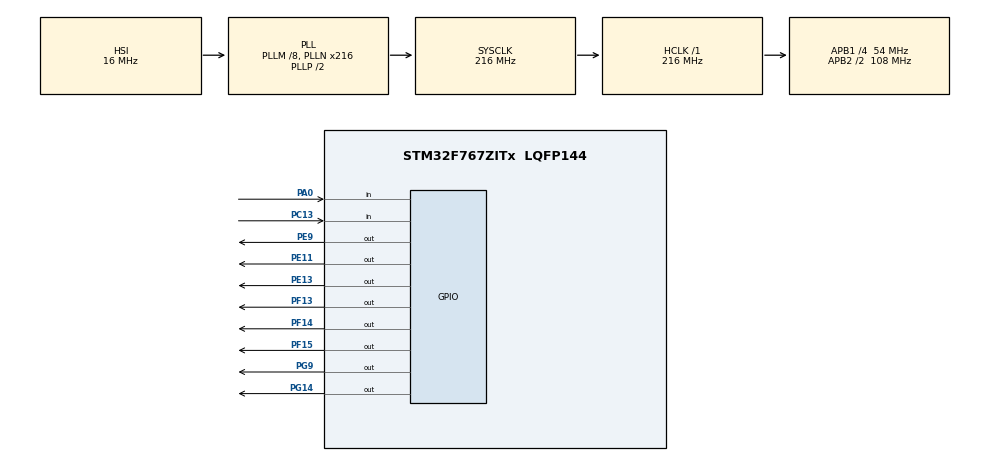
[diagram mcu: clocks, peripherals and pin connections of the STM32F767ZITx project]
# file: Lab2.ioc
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CORTEX_M7.default_mode_Activation=1
Mcu.Family=STM32F7
Mcu.Name=STM32F767ZITx
Mcu.Package=LQFP144
NVIC.PriorityGroup=NVIC_PRIORITYGROUP_4
PA0/WKUP.Signal=GPIO_Input
PC13.Signal=GPIO_Input
PE11.Signal=GPIO_Output
PE13.Signal=GPIO_Output
PE9.Signal=GPIO_Output
PF13.Signal=GPIO_Output
PF14.Signal=GPIO_Output
PF15.Signal=GPIO_Output
PG14.Signal=GPIO_Output
PG9.Signal=GPIO_Output
ProjectManager.HeapSize=0x200
ProjectManager.StackSize=0x400
ProjectManager.TargetToolchain=STM32CubeIDE
RCC.AHBFreq_Value=216000000
RCC.APB1CLKDivider=RCC_HCLK_DIV4
RCC.APB1Freq_Value=54000000
RCC.APB1TimFreq_Value=108000000
RCC.APB2CLKDivider=RCC_HCLK_DIV2
RCC.APB2Freq_Value=108000000
RCC.APB2TimFreq_Value=216000000
RCC.CortexFreq_Value=216000000
RCC.HCLKFreq_Value=216000000
RCC.HSE_VALUE=25000000
RCC.HSI_VALUE=16000000
RCC.LSE_VALUE=32768
RCC.PLLM=8
RCC.PLLN=216
RCC.SYSCLKFreq_VALUE=216000000
RCC.SYSCLKSource=RCC_SYSCLKSOURCE_PLLCLK
RCC.USBFreq_Value=216000000
RCC.VCOOutputFreq_Value=432000000
board=custom

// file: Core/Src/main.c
/* USER CODE BEGIN Header */
/**
  ******************************************************************************
  * @file           : main.c
  * @brief          : Main program body
  ******************************************************************************
  * @attention
  *
  * Copyright (c) 2025 STMicroelectronics.
  * All rights reserved.
  *
  * This software is licensed under terms that can be found in the LICENSE file
  * in the root directory of this software component.
  * If no LICENSE file comes with this software, it is provided AS-IS.
  *
  ******************************************************************************
  */
/* USER CODE END Header */
#include "main.h"
#include "gpio.h"

/* USER CODE BEGIN PV */
typedef struct {
				int status;
				GPIO_TypeDef* port;
				uint16_t pin;
				} LED;

const int ledCount = 8;
LED leds[8] = {
				{0, GPIOG, GPIO_PIN_9},
				{0, GPIOG, GPIO_PIN_14},
				{0, GPIOF, GPIO_PIN_15},
				{0, GPIOE, GPIO_PIN_13},
				{0, GPIOF, GPIO_PIN_14},
				{0, GPIOE, GPIO_PIN_11},
				{0, GPIOE, GPIO_PIN_9},
				{0, GPIOF, GPIO_PIN_13},
			  };

int B1 = 0;
int PA0 = 0;
int curLED = -1;
/* USER CODE END PV */

void SystemClock_Config(void);
static void MPU_Config(void);

/* USER CODE BEGIN 0 */
void setLED(int ledNum, int status){
	LED *led = &leds[ledNum];
	HAL_GPIO_WritePin(led->port, led->pin, status);
	led->status = status;
}

void resetAllLEDs(){
	for (int i=0; i<ledCount; i++){
		setLED(i, GPIO_PIN_RESET);
	}
}
/* USER CODE END 0 */

int main(void)
{

  /* MPU Configuration--------------------------------------------------------*/
  MPU_Config();

  /* MCU Configuration--------------------------------------------------------*/

  /* Reset of all peripherals, Initializes the Flash interface and the Systick. */
  HAL_Init();

  /* Configure the system clock */
  SystemClock_Config();

  /* Initialize all configured peripherals */
  MX_GPIO_Init();
  /* USER CODE BEGIN 2 */
  uint8_t lastB1 = 0;
  uint32_t lastDebounceTime = 0;
  const uint32_t debounceDelay = 75;
  /* USER CODE END 2 */

  /* Infinite loop */
  while (1)
  {

    /* USER CODE BEGIN 3 */
//	  ================== B1 ==================
	  B1 = HAL_GPIO_ReadPin(GPIOC, GPIO_PIN_13);
	  if (B1 != lastB1){
		  lastDebounceTime = HAL_GetTick();
	  }

	  if (HAL_GetTick() - lastDebounceTime > debounceDelay){
		  if (B1) {
			  curLED = (curLED + 1)%ledCount;
			  resetAllLEDs();
			  setLED(curLED, GPIO_PIN_SET);
			  HAL_Delay(debounceDelay);
		  }
	  }
	  lastB1 = B1;

//	  ================== PA0 ==================
	  PA0 = HAL_GPIO_ReadPin(GPIOA, GPIO_PIN_0);
	  if (!PA0) { //Pull-up Switch
		  if (curLED == -1){
			  for (int i=ledCount-1; i>=0; i--){
				  setLED(i, GPIO_PIN_SET);
				  HAL_Delay(300);
				  resetAllLEDs();
			  }
		  } else {
			  HAL_Delay(300);
			  int startLED = curLED;

			  for (int i = curLED - 1; i >= 0; i--) {
				  resetAllLEDs();
				  setLED(i, GPIO_PIN_SET);
				  HAL_Delay(300);
			  }

			  for (int i = ledCount - 1; i > curLED; i--) {
				  resetAllLEDs();
				  setLED(i, GPIO_PIN_SET);
				  HAL_Delay(300);
			  }
			  resetAllLEDs();
			  setLED(startLED, GPIO_PIN_SET);
			  curLED = startLED;
		  }
	  }
  }
  /* USER CODE END 3 */
}

void SystemClock_Config(void)
{
  RCC_OscInitTypeDef RCC_OscInitStruct = {0};
  RCC_ClkInitTypeDef RCC_ClkInitStruct = {0};

  /** Configure the main internal regulator output voltage
  */
  __HAL_RCC_PWR_CLK_ENABLE();
  __HAL_PWR_VOLTAGESCALING_CONFIG(PWR_REGULATOR_VOLTAGE_SCALE1);

  /** Initializes the RCC Oscillators according to the specified parameters
  * in the RCC_OscInitTypeDef structure.
  */
  RCC_OscInitStruct.OscillatorType = RCC_OSCILLATORTYPE_HSI;
  RCC_OscInitStruct.HSIState = RCC_HSI_ON;
  RCC_OscInitStruct.HSICalibrationValue = RCC_HSICALIBRATION_DEFAULT;
  RCC_OscInitStruct.PLL.PLLState = RCC_PLL_ON;
  RCC_OscInitStruct.PLL.PLLSource = RCC_PLLSOURCE_HSI;
  RCC_OscInitStruct.PLL.PLLM = 8;
  RCC_OscInitStruct.PLL.PLLN = 216;
  RCC_OscInitStruct.PLL.PLLP = RCC_PLLP_DIV2;
  RCC_OscInitStruct.PLL.PLLQ = 2;
  RCC_OscInitStruct.PLL.PLLR = 2;
  if (HAL_RCC_OscConfig(&RCC_OscInitStruct) != HAL_OK)
  {
    Error_Handler();
  }

  /** Activate the Over-Drive mode
  */
  if (HAL_PWREx_EnableOverDrive() != HAL_OK)
  {
    Error_Handler();
  }

  /** Initializes the CPU, AHB and APB buses clocks
  */
  RCC_ClkInitStruct.ClockType = RCC_CLOCKTYPE_HCLK|RCC_CLOCKTYPE_SYSCLK
                              |RCC_CLOCKTYPE_PCLK1|RCC_CLOCKTYPE_PCLK2;
  RCC_ClkInitStruct.SYSCLKSource = RCC_SYSCLKSOURCE_PLLCLK;
  RCC_ClkInitStruct.AHBCLKDivider = RCC_SYSCLK_DIV1;
  RCC_ClkInitStruct.APB1CLKDivider = RCC_HCLK_DIV4;
  RCC_ClkInitStruct.APB2CLKDivider = RCC_HCLK_DIV2;

  if (HAL_RCC_ClockConfig(&RCC_ClkInitStruct, FLASH_LATENCY_7) != HAL_OK)
  {
    Error_Handler();
  }
}

 /* MPU Configuration */

void MPU_Config(void)
{
  MPU_Region_InitTypeDef MPU_InitStruct = {0};

  /* Disables the MPU */
  HAL_MPU_Disable();

  /** Initializes and configures the Region and the memory to be protected
  */
  MPU_InitStruct.Enable = MPU_REGION_ENABLE;
  MPU_InitStruct.Number = MPU_REGION_NUMBER0;
  MPU_InitStruct.BaseAddress = 0x0;
  MPU_InitStruct.Size = MPU_REGION_SIZE_4GB;
  MPU_InitStruct.SubRegionDisable = 0x87;
  MPU_InitStruct.TypeExtField = MPU_TEX_LEVEL0;
  MPU_InitStruct.AccessPermission = MPU_REGION_NO_ACCESS;
  MPU_InitStruct.DisableExec = MPU_INSTRUCTION_ACCESS_DISABLE;
  MPU_InitStruct.IsShareable = MPU_ACCESS_SHAREABLE;
  MPU_InitStruct.IsCacheable = MPU_ACCESS_NOT_CACHEABLE;
  MPU_InitStruct.IsBufferable = MPU_ACCESS_NOT_BUFFERABLE;

  HAL_MPU_ConfigRegion(&MPU_InitStruct);
  /* Enables the MPU */
  HAL_MPU_Enable(MPU_PRIVILEGED_DEFAULT);

}

void Error_Handler(void)
{
  __disable_irq();
  while (1)
  {
  }
}
